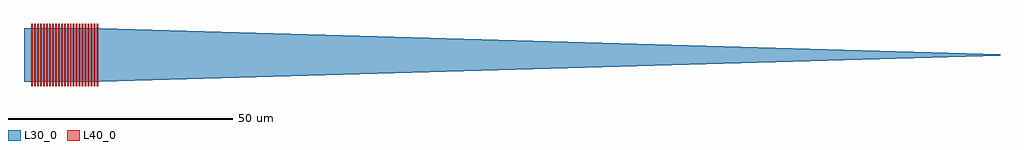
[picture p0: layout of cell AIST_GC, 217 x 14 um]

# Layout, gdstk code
import gdstk
lib = gdstk.Library(unit=1e-6, precision=1e-09)
def R(c, l, rs):  # rectangles x0, y0, x1, y1
    for r in rs: c.add(gdstk.rectangle(r[:2], r[2:], *l))
def A(c, l, x, y, w, h, nx, ny, dx, dy):  # array of equal rectangles
    R(c, l, [(x+i*dx, y+j*dy, x+i*dx+w, y+j*dy+h) for i in range(nx) for j in range(ny)])
def P(c, l, *ps):  # polygons
    for p in ps: c.add(gdstk.Polygon(p, *l))
L30_0 = (30, 0)
L40_0 = (40, 0)

aist_gc = lib.new_cell('AIST_GC')
R(aist_gc, L30_0, [(0,-6,17,6)])
P(aist_gc, L30_0, [(17,-6),(17,6),(217,0.22),(217,-0.22)])
A(aist_gc, L40_0, 1.65, -7, 0.33, 14, 23, 1, 0.66, 0)

lib.write_gds('AIST_GC.gds')
